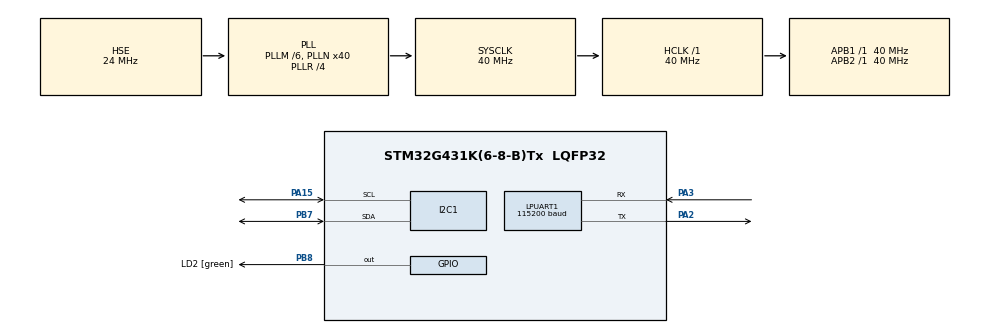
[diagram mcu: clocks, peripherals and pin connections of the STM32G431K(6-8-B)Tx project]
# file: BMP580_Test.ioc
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I2C1.I2C_Fall_Time=10
I2C1.I2C_Rise_Time=10
I2C1.Timing=0x00A09BEA
LPUART1.BaudRate=115200
Mcu.Family=STM32G4
Mcu.Name=STM32G431K(6-8-B)Tx
Mcu.Package=LQFP32
NVIC.PriorityGroup=NVIC_PRIORITYGROUP_4
NVIC.TIM4_IRQn=true\:0\:0\:false\:false\:true\:true\:true
PA13.GPIO_Label=T_SWDIO
PA13.Mode=Serial_Wire
PA13.Signal=SYS_JTMS-SWDIO
PA14.GPIO_Label=T_SWCLK
PA14.Mode=Serial_Wire
PA14.Signal=SYS_JTCK-SWCLK
PA15.Mode=I2C
PA15.Signal=I2C1_SCL
PA2.Mode=Asynchronous
PA2.Signal=LPUART1_TX
PA3.Mode=Asynchronous
PA3.Signal=LPUART1_RX
PB7.Mode=I2C
PB7.Signal=I2C1_SDA
PB8-BOOT0.GPIO_Label=LD2 [green]
PB8-BOOT0.Signal=GPIO_Output
PF0-OSC_IN.Mode=HSE-External-Oscillator
PF0-OSC_IN.Signal=RCC_OSC_IN
PF1-OSC_OUT.Mode=HSE-External-Oscillator
PF1-OSC_OUT.Signal=RCC_OSC_OUT
ProjectManager.HeapSize=0x200
ProjectManager.StackSize=0x400
ProjectManager.TargetToolchain=STM32CubeIDE
RCC.ADC12Freq_Value=40000000
RCC.AHBFreq_Value=40000000
RCC.APB1Freq_Value=40000000
RCC.APB1TimFreq_Value=40000000
RCC.APB2Freq_Value=40000000
RCC.APB2TimFreq_Value=40000000
RCC.CortexFreq_Value=40000000
RCC.EXTERNAL_CLOCK_VALUE=12288000
RCC.HCLKFreq_Value=40000000
RCC.HSE_VALUE=24000000
RCC.HSI48_VALUE=48000000
RCC.HSI_VALUE=16000000
RCC.LSE_VALUE=32768
RCC.PLLM=RCC_PLLM_DIV6
RCC.PLLN=40
RCC.PLLR=RCC_PLLR_DIV4
RCC.PLLSourceVirtual=RCC_PLLSOURCE_HSE
RCC.SYSCLKFreq_VALUE=40000000
RCC.SYSCLKSource=RCC_SYSCLKSOURCE_PLLCLK
RCC.USBFreq_Value=80000000
RCC.VCOOutputFreq_Value=160000000
TIM4.PeriodNoDither=500
TIM4.Prescaler=40000
VP_SYS_VS_DBSignals.Mode=DisableDeadBatterySignals
VP_TIM4_VS_ClockSourceINT.Mode=Internal
board=NUCLEO-G431KB

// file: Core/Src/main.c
/* USER CODE BEGIN Header */
/**
  ******************************************************************************
  * @file           : main.c
  * @brief          : Main program body
  ******************************************************************************
  * @attention
  *
  * <h2><center>&copy; Copyright (c) 2025 STMicroelectronics.
  * All rights reserved.</center></h2>
  *
  * This software component is licensed by ST under BSD 3-Clause license,
  * the "License"; You may not use this file except in compliance with the
  * License. You may obtain a copy of the License at:
  *                        opensource.org/licenses/BSD-3-Clause
  *
  ******************************************************************************
  */
/* USER CODE END Header */
#include "main.h"

/* USER CODE BEGIN Includes */

/******************************************************************************/
/*!                 Header Files                                              */
#include <stdio.h>
#include <string.h>
#include <stdarg.h>
#include "bmp5.h"
#include "common.h"

/******************************************************************************/
/*!         Static Function Declaration                                       */

/*!
 *  @brief This internal API is used to set configurations of the sensor.
 *
 *  @param[in,out] osr_odr_press_cfg : Structure instance of bmp5_osr_odr_press_config
 *  @param[in] dev                   : Structure instance of bmp5_dev.
 *
 *  @return Status of execution.
 */
static int8_t set_config(struct bmp5_osr_odr_press_config *osr_odr_press_cfg, struct bmp5_dev *dev);

/*!
 *  @brief This internal API is used to get sensor data.
 *
 *  @param[in] osr_odr_press_cfg : Structure instance of bmp5_osr_odr_press_config
 *  @param[in] dev               : Structure instance of bmp5_dev.
 *
 *  @return Status of execution.
 */
//static int8_t get_sensor_data(const struct bmp5_osr_odr_press_config *osr_odr_press_cfg, struct bmp5_dev *dev);

/******************************************************************************/
/*!            Functions                                        */

/* USER CODE END Includes */

/* USER CODE BEGIN PD */
//#define BMP5_USE_FIXED_POINT
/* USER CODE END PD */

I2C_HandleTypeDef hi2c1;

UART_HandleTypeDef hlpuart1;

TIM_HandleTypeDef htim4;

/* USER CODE BEGIN PV */
char temp_buffer[16];
char press_buffer[16];
char buffer[32];
int8_t rslt;
struct bmp5_sensor_data sensor_data;

uint8_t rx_data;
uint8_t temp_unit = 0;

float hpa;
float inHg;
float temp_f;
/* USER CODE END PV */

void SystemClock_Config(void);
static void MX_GPIO_Init(void);
static void MX_I2C1_Init(void);
static void MX_TIM4_Init(void);
static void MX_LPUART1_UART_Init(void);
/* USER CODE BEGIN PFP */

static int8_t set_config(struct bmp5_osr_odr_press_config *osr_odr_press_cfg, struct bmp5_dev *dev)
{
    int8_t rslt;
    struct bmp5_iir_config set_iir_cfg;
    struct bmp5_int_source_select int_source_select;

    rslt = bmp5_set_power_mode(BMP5_POWERMODE_STANDBY, dev);
    if (rslt == BMP5_OK)
    {
        /* Get default odr */
        rslt = bmp5_get_osr_odr_press_config(osr_odr_press_cfg, dev);

        if (rslt == BMP5_OK)
        {
            /* Set ODR as 50Hz */
            osr_odr_press_cfg->odr = BMP5_ODR_60_HZ;

            /* Enable pressure */
            osr_odr_press_cfg->press_en = BMP5_ENABLE;

            /* Set Over-sampling rate with respect to odr */
            osr_odr_press_cfg->osr_t = BMP5_OVERSAMPLING_64X;
            osr_odr_press_cfg->osr_p = BMP5_OVERSAMPLING_16X;

            rslt = bmp5_set_osr_odr_press_config(osr_odr_press_cfg, dev);
        }

        if (rslt == BMP5_OK)
        {
            set_iir_cfg.set_iir_t = BMP5_IIR_FILTER_COEFF_1;
            set_iir_cfg.set_iir_p = BMP5_IIR_FILTER_COEFF_1;
            set_iir_cfg.shdw_set_iir_t = BMP5_ENABLE;
            set_iir_cfg.shdw_set_iir_p = BMP5_ENABLE;

            rslt = bmp5_set_iir_config(&set_iir_cfg, dev);
        }

        if (rslt == BMP5_OK)
        {
            rslt = bmp5_configure_interrupt(BMP5_PULSED, BMP5_ACTIVE_HIGH, BMP5_INTR_PUSH_PULL, BMP5_INTR_ENABLE, dev);

            if (rslt == BMP5_OK)
            {
                /* Note : Select INT_SOURCE after configuring interrupt */
                int_source_select.drdy_en = BMP5_ENABLE;
                rslt = bmp5_int_source_select(&int_source_select, dev);
            }
        }

        /* Set powermode as normal */
        rslt = bmp5_set_power_mode(BMP5_POWERMODE_NORMAL, dev);
    }

    return rslt;
}

/*
 * Commented function below was used for initial testing.  Not needed in my case as I found a simpler way
 * to retrieve pressure and temperature data from sensor.
 */

//static int8_t get_sensor_data(const struct bmp5_osr_odr_press_config *osr_odr_press_cfg, struct bmp5_dev *dev)
//{
//    int8_t rslt = 0;
//    uint8_t idx = 0;
//    uint8_t int_status;
//    struct bmp5_sensor_data sensor_data;
//
//    printf("\nOutput :\n\n");
//    printf("Data, Pressure (Pa), Temperature (deg C)\n");
//
//    while (idx < 50)
//    {
//        rslt = bmp5_get_interrupt_status(&int_status, dev);
//
//        if (int_status & BMP5_INT_ASSERTED_DRDY)
//        {
//            rslt = bmp5_get_sensor_data(&sensor_data, osr_odr_press_cfg, dev);
//
//            if (rslt == BMP5_OK)
//            {
//#ifdef BMP5_USE_FIXED_POINT
//                sprintf(buffer, "%d, %lu, %ld\n", idx, (long unsigned int)sensor_data.pressure,
//                       (long int)sensor_data.temperature);
//#else
//                printf("%d, %lu, %ld\n", idx, sensor_data.pressure, sensor_data.temperature);
//#endif
//
//                idx++;
//            }
//        }
//    }
//
//    return rslt;
//}

void displayFloat(char *charbuf, float value, long multiplier){

    long lwhole;
    unsigned long ulpart;
	long signed_val;

	signed_val = (long)((float)value);

	if(value < 0.0){
		value = -value;
	}

    lwhole = (long)((float)value);
    ulpart = (long)((float)value * multiplier) - lwhole * multiplier;

    if(value > 0.0){
    	if(multiplier == 10){
    		sprintf(charbuf, "% 5ld.%01lu", signed_val, ulpart);
    	}else if(multiplier == 100){
    		sprintf(charbuf, "% 5ld.%02lu", signed_val, ulpart);
    	}else if(multiplier == 1000){
    		sprintf(charbuf, "% 5ld.%03lu", signed_val, ulpart);
    	}
    }else if(value == 0.0){
    	if(multiplier == 10){
    		sprintf(charbuf, "    0.0");
    	}else if(multiplier == 100){
    		sprintf(charbuf, "    0.00");
    	}else if(multiplier == 1000){
    		sprintf(charbuf, "    0.000");
    	}
    }
}

float convertToFahrenheit(float celsius){
	return ((celsius * (9.0/5.0)) + 32.0);
}

void myprintf(const char *fmt, ...) {
  static char buffer[256];
  va_list args;
  va_start(args, fmt);
  vsnprintf(buffer, sizeof(buffer), fmt, args);
  va_end(args);

  int len = strlen(buffer);
  HAL_UART_Transmit(&hlpuart1, (uint8_t*)buffer, len, -1);

}

/* USER CODE END PFP */

/* USER CODE BEGIN 0 */
/*
 * 6 AUG 2025, V1.0
 * Simple test of a Bosch pressure sensor utilising Bosch's BMP5 API with the STM32 environment.
 * I2C has been implement for now, SPI not worked on.
 * Sensor used for testing is a BMP580.
 *
 * This code uses the "read sensor data in normal mode" example from Bosch, but modified for this use case.
 * The result is printed over serial and displayed on a serial monitor (in this case using VT100 format).
 *
 * Notes:
 * - Power up check function does not work for some reason, sensor keeps reporting back BMP5_E_POWER_UP,
 * work around is to bypass power up check.  Refer to lines 317-325 in bmp5.c.
 * Sensor works fine bypassing this function check.
 * - Commented out code not being used (SPI, functions related to the COINES platform, etc.) and
 * removed other unnecessary things.
 *
 */

/* USER CODE END 0 */

int main(void)
{

  /* MCU Configuration--------------------------------------------------------*/

  /* Reset of all peripherals, Initializes the Flash interface and the Systick. */
  HAL_Init();

  /* Configure the system clock */
  SystemClock_Config();

  /* Initialize all configured peripherals */
  MX_GPIO_Init();
  MX_I2C1_Init();
  MX_TIM4_Init();
  MX_LPUART1_UART_Init();
  /* USER CODE BEGIN 2 */

  HAL_TIM_Base_Start_IT(&htim4);

  int8_t rslt;
  struct bmp5_dev dev;
  struct bmp5_osr_odr_press_config osr_odr_press_cfg = { 0 };

  /* Interface reference is given as a parameter
   * For I2C : BMP5_I2C_INTF
   * For SPI : BMP5_SPI_INTF
   */
  rslt = bmp5_interface_init(&dev, BMP5_I2C_INTF);

  if (rslt == BMP5_OK)
  {
      rslt = bmp5_init(&dev);

      if (rslt == BMP5_OK)
      {
          rslt = set_config(&osr_odr_press_cfg, &dev);
      }
  }

  /* USER CODE END 2 */

  /* Infinite loop */
  /* USER CODE BEGIN WHILE */
  while (1)
  {

	  bmp5_get_sensor_data(&sensor_data, &osr_odr_press_cfg, &dev);
	  hpa = sensor_data.pressure / 100.0;
	  inHg = sensor_data.pressure * 0.00029529983071445;

	  temp_f = convertToFahrenheit(sensor_data.temperature);

	  myprintf("BMP580 Pressure Sensor Test \e[3;0H");
	  if(temp_unit == 1){
		  displayFloat(press_buffer, inHg, 1000);
		  displayFloat(temp_buffer, temp_f, 100);
		  myprintf("Pressure (inHg):%s, Temperature (F):%s  \e[H", press_buffer, temp_buffer);	//Display result (with V100 Formatting)
	  }else{
		  displayFloat(press_buffer, hpa, 100);
		  displayFloat(temp_buffer, sensor_data.temperature, 100);
		  myprintf("Pressure (hPa):%s, Temperature (C):%s  \e[H", press_buffer, temp_buffer);
	  }

	  HAL_UART_Receive(&hlpuart1, &rx_data, 1, 10);
	  if(rx_data == 'f'){
		  temp_unit = 1;			//Select imperial measurement
	  }else if(rx_data == 'c'){
		  temp_unit = 0;			//Select metric measurement
	  }

	  HAL_Delay(500);
    /* USER CODE END WHILE */

  }
}

void SystemClock_Config(void)
{
  RCC_OscInitTypeDef RCC_OscInitStruct = {0};
  RCC_ClkInitTypeDef RCC_ClkInitStruct = {0};
  RCC_PeriphCLKInitTypeDef PeriphClkInit = {0};

  /** Configure the main internal regulator output voltage
  */
  HAL_PWREx_ControlVoltageScaling(PWR_REGULATOR_VOLTAGE_SCALE1);
  /** Initializes the RCC Oscillators according to the specified parameters
  * in the RCC_OscInitTypeDef structure.
  */
  RCC_OscInitStruct.OscillatorType = RCC_OSCILLATORTYPE_HSE;
  RCC_OscInitStruct.HSEState = RCC_HSE_ON;
  RCC_OscInitStruct.PLL.PLLState = RCC_PLL_ON;
  RCC_OscInitStruct.PLL.PLLSource = RCC_PLLSOURCE_HSE;
  RCC_OscInitStruct.PLL.PLLM = RCC_PLLM_DIV6;
  RCC_OscInitStruct.PLL.PLLN = 40;
  RCC_OscInitStruct.PLL.PLLP = RCC_PLLP_DIV2;
  RCC_OscInitStruct.PLL.PLLQ = RCC_PLLQ_DIV2;
  RCC_OscInitStruct.PLL.PLLR = RCC_PLLR_DIV4;
  if (HAL_RCC_OscConfig(&RCC_OscInitStruct) != HAL_OK)
  {
    Error_Handler();
  }
  /** Initializes the CPU, AHB and APB buses clocks
  */
  RCC_ClkInitStruct.ClockType = RCC_CLOCKTYPE_HCLK|RCC_CLOCKTYPE_SYSCLK
                              |RCC_CLOCKTYPE_PCLK1|RCC_CLOCKTYPE_PCLK2;
  RCC_ClkInitStruct.SYSCLKSource = RCC_SYSCLKSOURCE_PLLCLK;
  RCC_ClkInitStruct.AHBCLKDivider = RCC_SYSCLK_DIV1;
  RCC_ClkInitStruct.APB1CLKDivider = RCC_HCLK_DIV1;
  RCC_ClkInitStruct.APB2CLKDivider = RCC_HCLK_DIV1;

  if (HAL_RCC_ClockConfig(&RCC_ClkInitStruct, FLASH_LATENCY_1) != HAL_OK)
  {
    Error_Handler();
  }
  /** Initializes the peripherals clocks
  */
  PeriphClkInit.PeriphClockSelection = RCC_PERIPHCLK_LPUART1|RCC_PERIPHCLK_I2C1;
  PeriphClkInit.Lpuart1ClockSelection = RCC_LPUART1CLKSOURCE_PCLK1;
  PeriphClkInit.I2c1ClockSelection = RCC_I2C1CLKSOURCE_PCLK1;
  if (HAL_RCCEx_PeriphCLKConfig(&PeriphClkInit) != HAL_OK)
  {
    Error_Handler();
  }
}

static void MX_I2C1_Init(void)
{

  hi2c1.Instance = I2C1;
  hi2c1.Init.Timing = 0x00A09BEA;
  hi2c1.Init.OwnAddress1 = 0;
  hi2c1.Init.AddressingMode = I2C_ADDRESSINGMODE_7BIT;
  hi2c1.Init.DualAddressMode = I2C_DUALADDRESS_DISABLE;
  hi2c1.Init.OwnAddress2 = 0;
  hi2c1.Init.OwnAddress2Masks = I2C_OA2_NOMASK;
  hi2c1.Init.GeneralCallMode = I2C_GENERALCALL_DISABLE;
  hi2c1.Init.NoStretchMode = I2C_NOSTRETCH_DISABLE;
  if (HAL_I2C_Init(&hi2c1) != HAL_OK)
  {
    Error_Handler();
  }
  /** Configure Analogue filter
  */
  if (HAL_I2CEx_ConfigAnalogFilter(&hi2c1, I2C_ANALOGFILTER_ENABLE) != HAL_OK)
  {
    Error_Handler();
  }
  /** Configure Digital filter
  */
  if (HAL_I2CEx_ConfigDigitalFilter(&hi2c1, 0) != HAL_OK)
  {
    Error_Handler();
  }

}

static void MX_LPUART1_UART_Init(void)
{

  hlpuart1.Instance = LPUART1;
  hlpuart1.Init.BaudRate = 115200;
  hlpuart1.Init.WordLength = UART_WORDLENGTH_8B;
  hlpuart1.Init.StopBits = UART_STOPBITS_1;
  hlpuart1.Init.Parity = UART_PARITY_NONE;
  hlpuart1.Init.Mode = UART_MODE_TX_RX;
  hlpuart1.Init.HwFlowCtl = UART_HWCONTROL_NONE;
  hlpuart1.Init.OneBitSampling = UART_ONE_BIT_SAMPLE_DISABLE;
  hlpuart1.Init.ClockPrescaler = UART_PRESCALER_DIV1;
  hlpuart1.AdvancedInit.AdvFeatureInit = UART_ADVFEATURE_NO_INIT;
  if (HAL_UART_Init(&hlpuart1) != HAL_OK)
  {
    Error_Handler();
  }
  if (HAL_UARTEx_SetTxFifoThreshold(&hlpuart1, UART_TXFIFO_THRESHOLD_1_8) != HAL_OK)
  {
    Error_Handler();
  }
  if (HAL_UARTEx_SetRxFifoThreshold(&hlpuart1, UART_RXFIFO_THRESHOLD_1_8) != HAL_OK)
  {
    Error_Handler();
  }
  if (HAL_UARTEx_DisableFifoMode(&hlpuart1) != HAL_OK)
  {
    Error_Handler();
  }

}

static void MX_TIM4_Init(void)
{

  TIM_ClockConfigTypeDef sClockSourceConfig = {0};
  TIM_MasterConfigTypeDef sMasterConfig = {0};

  htim4.Instance = TIM4;
  htim4.Init.Prescaler = 40000;
  htim4.Init.CounterMode = TIM_COUNTERMODE_UP;
  htim4.Init.Period = 500;
  htim4.Init.ClockDivision = TIM_CLOCKDIVISION_DIV1;
  htim4.Init.AutoReloadPreload = TIM_AUTORELOAD_PRELOAD_DISABLE;
  if (HAL_TIM_Base_Init(&htim4) != HAL_OK)
  {
    Error_Handler();
  }
  sClockSourceConfig.ClockSource = TIM_CLOCKSOURCE_INTERNAL;
  if (HAL_TIM_ConfigClockSource(&htim4, &sClockSourceConfig) != HAL_OK)
  {
    Error_Handler();
  }
  sMasterConfig.MasterOutputTrigger = TIM_TRGO_RESET;
  sMasterConfig.MasterSlaveMode = TIM_MASTERSLAVEMODE_DISABLE;
  if (HAL_TIMEx_MasterConfigSynchronization(&htim4, &sMasterConfig) != HAL_OK)
  {
    Error_Handler();
  }

}

static void MX_GPIO_Init(void)
{
  GPIO_InitTypeDef GPIO_InitStruct = {0};

  /* GPIO Ports Clock Enable */
  __HAL_RCC_GPIOF_CLK_ENABLE();
  __HAL_RCC_GPIOA_CLK_ENABLE();
  __HAL_RCC_GPIOB_CLK_ENABLE();

  /*Configure GPIO pin Output Level */
  HAL_GPIO_WritePin(LD2_GPIO_Port, LD2_Pin, GPIO_PIN_RESET);

  /*Configure GPIO pin : LD2_Pin */
  GPIO_InitStruct.Pin = LD2_Pin;
  GPIO_InitStruct.Mode = GPIO_MODE_OUTPUT_PP;
  GPIO_InitStruct.Pull = GPIO_NOPULL;
  GPIO_InitStruct.Speed = GPIO_SPEED_FREQ_LOW;
  HAL_GPIO_Init(LD2_GPIO_Port, &GPIO_InitStruct);

}

void Error_Handler(void)
{
  __disable_irq();
  while (1)
  {
  }
}

/************************ (C) COPYRIGHT STMicroelectronics *****END OF FILE****/
